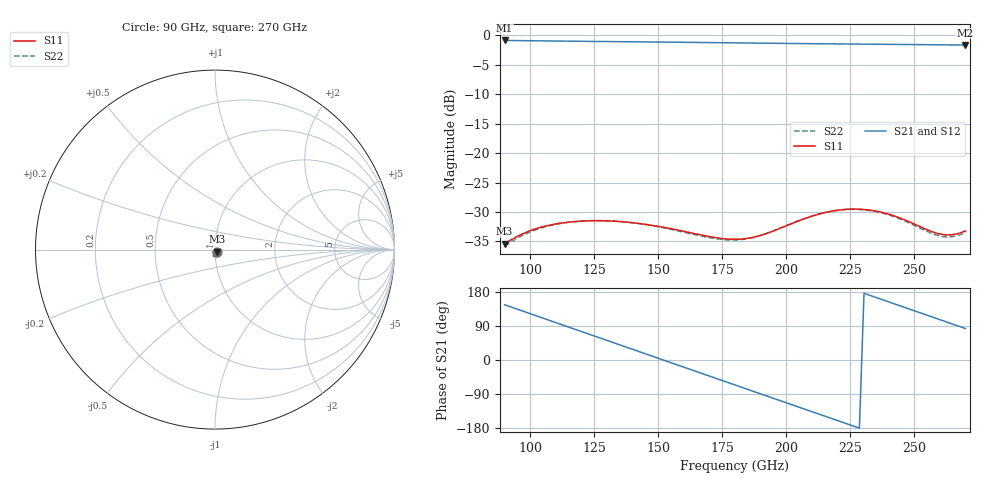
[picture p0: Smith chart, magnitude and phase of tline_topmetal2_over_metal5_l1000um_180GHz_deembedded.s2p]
! Created with skrf 2.2.0 (http://scikit-rf.org).
# GHz S DB R 50.0
! Port[1] = P1
! Port[2] = P2
!freq dBS11 angS11 dBS21 angS21 dBS12 angS12 dBS22 angS22
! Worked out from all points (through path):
!   101 points, 90 GHz to 270 GHz, reference 50 ohm
!   highest |S21| = -0.91 dB at 90 GHz (marker M1); lowest = -1.7 dB at 270 GHz (marker M2)
!   group delay of S21, straight-line fit = 6.52 ps
!   lowest |S11| = -35.4 dB at 90 GHz (marker M3), VSWR 1.03, Z = 51.2 - j1.23 ohm
!   |S11| at or under -10 dB: start of sweep to end of sweep
!   |S22| runs from -35.8 to -29.5 dB; largest |S21 - S12| = 1.4e-13
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90  -35.38 -44.8  -0.91 145.8  -0.91 145.8  -35.79 -46.0
99  -33.33 -46.8  -0.96 124.6  -0.96 124.6  -33.56 -47.2
106.2  -32.35 -51.9  -0.99 107.6  -0.99 107.6  -32.47 -52.2
113.4  -31.80 -57.6  -1.03 90.7  -1.03 90.7  -31.84 -58.2
120.6  -31.54 -63.3  -1.06 73.8  -1.06 73.8  -31.53 -64.1
127.8  -31.49 -68.7  -1.09 56.9  -1.09 56.9  -31.45 -69.9
136.8  -31.69 -74.7  -1.13 35.7  -1.13 35.7  -31.66 -76.3
144  -32.04 -78.7  -1.16 18.8  -1.16 18.8  -32.05 -80.5
151.2  -32.53 -81.5  -1.19 1.8  -1.19 1.8  -32.60 -83.4
163.8  -33.62 -82.7  -1.24 -27.8  -1.24 -27.8  -33.78 -84.2
172.8  -34.37 -79.2  -1.29 -49.0  -1.29 -49.0  -34.54 -80.0
180  -34.63 -73.4  -1.32 -65.9  -1.32 -65.9  -34.74 -73.8
187.2  -34.28 -66.7  -1.36 -82.8  -1.36 -82.8  -34.31 -67.0
194.4  -33.32 -61.8  -1.39 -99.7  -1.39 -99.7  -33.29 -62.4
201.6  -32.07 -60.7  -1.42 -116.6  -1.42 -116.6  -32.03 -61.7
210.6  -30.63 -64.7  -1.46 -137.6  -1.46 -137.6  -30.62 -65.9
219.6  -29.73 -72.4  -1.50 -158.7  -1.50 -158.7  -29.74 -73.8
226.8  -29.50 -79.9  -1.53 -175.6  -1.53 -175.6  -29.55 -81.3
241.2  -30.52 -92.8  -1.58 150.6  -1.58 150.6  -30.65 -94.3
255.6  -33.10 -91.9  -1.63 116.9  -1.63 116.9  -33.39 -92.9
262.8  -33.88 -81.4  -1.66 100.0  -1.66 100.0  -34.22 -81.4
270  -33.21 -69.4  -1.69 83.1  -1.69 83.1  -33.48 -68.4
